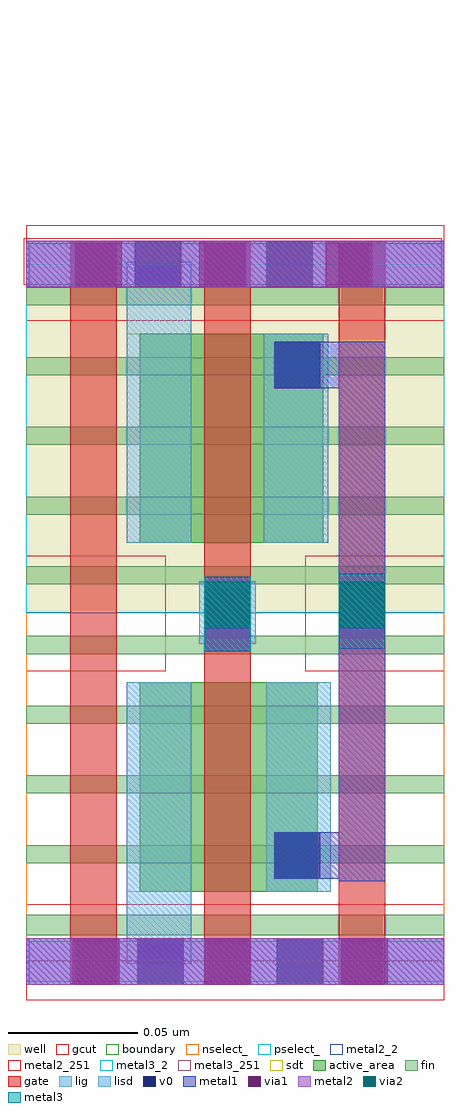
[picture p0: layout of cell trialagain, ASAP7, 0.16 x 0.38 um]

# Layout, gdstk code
import gdstk
lib = gdstk.Library(unit=1e-6, precision=2.5e-10)
def R(c, l, rs):  # rectangles x0, y0, x1, y1
    for r in rs: c.add(gdstk.rectangle(r[:2], r[2:], *l))
def A(c, l, x, y, w, h, nx, ny, dx, dy):  # array of equal rectangles
    R(c, l, [(x+i*dx, y+j*dy, x+i*dx+w, y+j*dy+h) for i in range(nx) for j in range(ny)])
def P(c, l, *ps):  # polygons
    for p in ps: c.add(gdstk.Polygon(p, *l))
well = (1, 0)
fin = (2, 0)
gate = (7, 0)
gcut = (10, 0)
active_area = (11, 0)
nselect_ = (12, 0)
pselect_ = (13, 0)
lig = (16, 0)
lisd = (17, 0)
v0 = (18, 0)
metal1 = (19, 0)
metal2 = (20, 0)
metal2_2 = (20, 2)
metal2_251 = (20, 251)
via1 = (21, 0)
via2 = (25, 0)
metal3 = (30, 0)
metal3_2 = (30, 2)
metal3_251 = (30, 251)
sdt = (88, 0)
boundary = (100, 0)

trialagain = lib.new_cell('trialagain')
R(trialagain, well, [(0,0.144,0.162,0.288)])
A(trialagain, fin, 0, 0.047, 0.162, 0.007, 1, 9, 0, 0.027)
R(trialagain, fin, [(0,0.019,0.162,0.027)])
A(trialagain, gate, 0.017, 0, 0.018, 0.288, 3, 1, 0.052, 0)
R(trialagain, gcut, [(0,-0.006,0.162,0.031), (0,0.1213,0.054,0.166), (0.108,0.1213,0.162,0.166), (0,0.257,0.162,0.294)])
R(trialagain, active_area, [(0.044,0.036,0.113,0.117), (0.044,0.171,0.115,0.252)])
P(trialagain, active_area, [(0.104,0.372),(0.104,0.372),(0.104,0.372),(0.104,0.372)])
R(trialagain, nselect_, [(0,0.009,0.162,0.144)])
R(trialagain, pselect_, [(0,0.144,0.162,0.279)])
R(trialagain, lig, [(0,0.001,0.162,0.017), (0.067,0.132,0.089,0.156), (0,0.271,0.162,0.287)])
R(trialagain, lisd, [(0.039,0.008,0.064,0.117), (0.093,0.036,0.118,0.117), (0.039,0.171,0.064,0.28), (0.092,0.171,0.117,0.252)])
R(trialagain, v0, [(0.043,0,0.061,0.018), (0.097,0,0.115,0.018), (0.096,0.041,0.114,0.059), (0.069,0.135,0.087,0.153), (0.096,0.231,0.114,0.249), (0.042,0.27,0.06,0.288), (0.093,0.27,0.111,0.288)])
R(trialagain, metal1, [(0,0,0.162,0.018), (0.121,0.04,0.139,0.249), (0.096,0.041,0.121,0.059), (0.069,0.129,0.087,0.158), (0.096,0.231,0.121,0.249), (0,0.27,0.162,0.288)])
R(trialagain, metal2, [(0,0,0.162,0.018), (0.069,0.129,0.087,0.158), (0.121,0.13,0.139,0.159), (0,0.27,0.162,0.288)])
P(trialagain, metal2, [(0,0.287),(0,0.287),(0,0.287),(0,0.287)],
  [(0,0.288),(0,0.288),(0,0.288),(0,0.288)])
R(trialagain, metal2_2, [(0.001,0,0.162,0.018), (0.001,0.27,0.162,0.288)])
P(trialagain, metal2_2, [(0.008,0.006),(0.008,0.006),(0.008,0.006),(0.008,0.006)],
  [(0.008,0.006),(0.008,0.006),(0.008,0.006),(0.008,0.006)])
R(trialagain, metal2_251, [(0,0,0.162,0.018), (-0.001,0.271,0.161,0.289)])
P(trialagain, metal2_251, [(0,0.287),(0,0.287),(0,0.287),(0,0.287)])
R(trialagain, via1, [(0.018,0,0.036,0.018), (0.069,0,0.087,0.018), (0.122,0,0.14,0.018), (0.069,0.134,0.087,0.152), (0.121,0.134,0.139,0.152), (0.019,0.27,0.037,0.288), (0.067,0.27,0.085,0.288), (0.116,0.27,0.134,0.288)])
R(trialagain, via2, [(0.069,0.138,0.087,0.156), (0.121,0.138,0.139,0.156)])
R(trialagain, metal3, [(0.069,0.129,0.087,0.158), (0.121,0.13,0.139,0.159)])
R(trialagain, metal3_2, [(0.069,0.129,0.087,0.158), (0.121,0.13,0.139,0.159)])
R(trialagain, metal3_251, [(0.069,0.129,0.087,0.158), (0.121,0.13,0.139,0.159)])
R(trialagain, sdt, [(0.039,0.036,0.064,0.117), (0.093,0.036,0.118,0.117), (0.039,0.171,0.064,0.252), (0.092,0.171,0.117,0.252)])
R(trialagain, boundary, [(0,0,0.162,0.288), (0,0,0.162,0.288)])

lib.write_gds('trialagain.gds')
